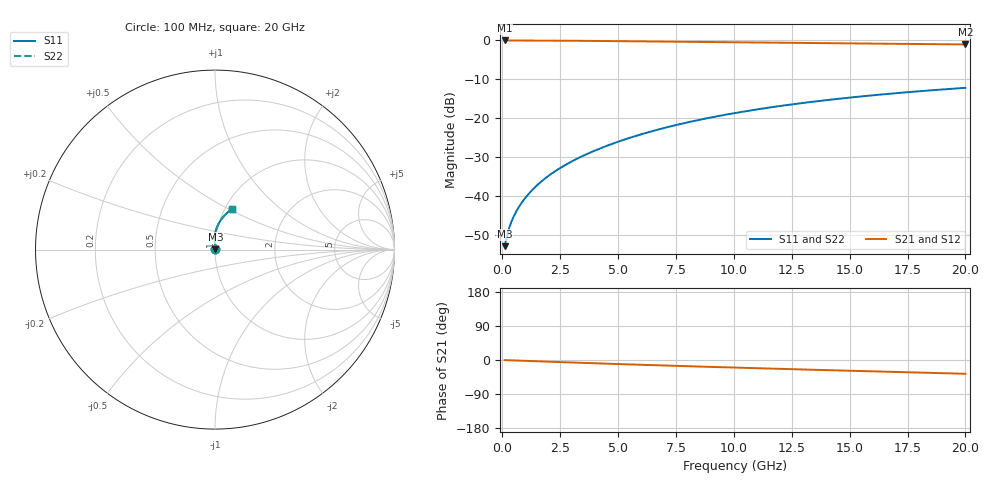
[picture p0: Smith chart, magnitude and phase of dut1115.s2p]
! Touchstone file exported from HFSS 2024.1.0
!  File:  C:/UserFiles/LocalFiles/RDL_TSV_Batchsim/temp_RDL_top_1115_1780046842.aedt
!  Generated:  05:29:15 PM May 29, 2026
!  Design:  RDL_top
!  Project:  temp_RDL_top_1115_1780046842
!  Setup:  Setup1
!  Solution:  Sweep
! Variables:
!  dtsv = 10.80580581um
!  hbump = 3um
!  htsv = 79.91um
!  ldown = 100um
!  lrdl = 587.82um
!  p = 40
!  p1 = 43.31um
!  rhole = 1um
!  t = 450um
!  tdown = 3.915915916um
!  trdl = 4.64um
!  wdown = 15.38538539um
!  wrdl = 26.37um
# GHz S MA R 50.000000
! Terminal data exported
! Port[1] = Box2_T1
! Port[2] = Box2_T2
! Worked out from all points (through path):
!   200 points, 100 MHz to 20 GHz, reference 50 ohm
!   highest |S21| = -0.02 dB at 100 MHz (marker M1); lowest = -1.0 dB at 20 GHz (marker M2)
!   group delay of S21, straight-line fit = 4.97 ps
!   lowest |S11| = -53.0 dB at 100 MHz (marker M3), VSWR 1.00, Z = 50.2 + j0.114 ohm
!   |S11| at or under -10 dB: start of sweep to end of sweep
!   |S22| runs from -53.0 to -12.2 dB; largest |S21 - S12| = 3.1e-15
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0.1  0.002242 30.5  0.9981 -0.2  0.9981 -0.2  0.002243 30.5
! Gamma 0 0 0 0
! Port Impedance 50 0 50 0
0.2  0.003026 46.3  0.9978 -0.5  0.9978 -0.5  0.003026 46.3
0.3  0.003867 54.2  0.9976 -0.7  0.9976 -0.7  0.003867 54.2
0.4  0.004681 59.2  0.9974 -0.9  0.9974 -0.9  0.004681 59.2
0.5  0.005471 62.9  0.9972 -1.1  0.9972 -1.1  0.005471 62.9
0.6  0.006251 66.0  0.9971 -1.4  0.9971 -1.4  0.006251 65.9
0.8  0.007821 70.8  0.9967 -1.8  0.9967 -1.8  0.007821 70.7
1.1  0.01025 75.9  0.9962 -2.5  0.9962 -2.5  0.01025 75.9
1.6  0.0145 81.4  0.9949 -3.6  0.9949 -3.6  0.0145 81.4
2.1  0.01899 84.8  0.9932 -4.7  0.9932 -4.7  0.01899 84.8
2.7  0.02468 87.6  0.9907 -6.0  0.9907 -6.0  0.02467 87.6
3.5  0.03278 89.8  0.9867 -7.7  0.9867 -7.7  0.03278 89.8
4.2  0.04037 90.9  0.9828 -9.1  0.9828 -9.1  0.04036 90.9
5  0.04958 91.5  0.9779 -10.7  0.9779 -10.7  0.04956 91.5
5.9  0.06054 91.4  0.972 -12.5  0.972 -12.5  0.06052 91.4
6.8  0.07204 90.8  0.966 -14.2  0.966 -14.2  0.07201 90.8
8.4  0.09341 88.9  0.9554 -17.1  0.9554 -17.1  0.09337 88.9
10.1  0.1168 86.1  0.9444 -20.1  0.9444 -20.1  0.1167 86.0
11.7  0.1389 83.1  0.9344 -22.9  0.9344 -22.9  0.1389 83.1
13.4  0.1621 79.7  0.9241 -25.7  0.9241 -25.7  0.162 79.7
16.7  0.2053 73.2  0.905 -31.1  0.905 -31.1  0.2052 73.2
20  0.245 67.0  0.8868 -36.3  0.8868 -36.3  0.2449 67.0
